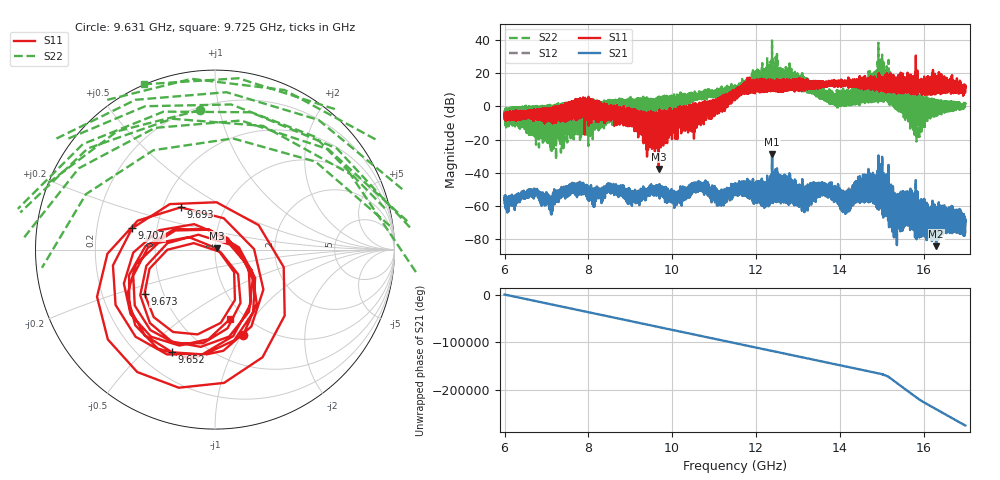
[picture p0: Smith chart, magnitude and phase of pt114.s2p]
#  HZ  S  RI  R  50.00
! Rohde & Schwarz Vector Network Analyzer
! Rohde-Schwarz,ZNA67-2Port,1332450062101215,3.01
! Created: UTC 10/19/2026, 3:13:38 PM
! freq[Hz]  re:S11  im:S11  re:S21  im:S21  re:S12  im:S12  re:S22  im:S22
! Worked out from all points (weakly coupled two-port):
!   11001 points, 6 GHz to 17 GHz, reference 50 ohm
!   highest |S21| = -28.83 dB at 12.38 GHz (marker M1); lowest = -84.0 dB at 16.3 GHz (marker M2)
!   lowest |S11| = -37.6 dB at 9.68 GHz (marker M3), VSWR 1.03, Z = 51.2 + j0.65 ohm
!   |S11| at or under -10 dB: 9.21199 GHz to 9.215513 GHz (3.523 MHz wide, 0.0382 % of centre); 9.316542 GHz to 9.320141 GHz (3.599 MHz wide, 0.0386 % of centre); 9.385837 GHz to 9.390033 GHz (4.196 MHz wide, 0.0447 % of centre) (the widest 3 of 147)
!   |S22| runs from -32.0 to 39.7 dB; largest |S21 - S12| = 0.0026
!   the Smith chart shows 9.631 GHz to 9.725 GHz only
!   S11 on the Smith chart (normalised r, x): 9.631 GHz: 0.80, -1.02; 9.652 GHz: 0.33, -0.61; 9.673 GHz: 0.39, -0.25; 9.693 GHz: 0.61, +0.32; 9.707 GHz: 0.36, +0.11; 9.725 GHz: 0.85, -0.78
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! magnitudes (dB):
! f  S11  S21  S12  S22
! 6 GHz  -4.6  -53.9  -53.9  -2.2
! 6.724 GHz  -5.9  -52.7  -52.8  -4.0
! 7.1 GHz  -6.4  -57.8  -57.3  -26.7
! 7.834 GHz  -5.2  -50.0  -49.8  -8.6
! 8.131 GHz  2.0  -56.1  -55.9  3.9
! 9.631 GHz  -6.0  -50.4  -50.3  -2.1
! 9.652 GHz  -4.2  -50.6  -50.8  0.8
! 9.667 GHz  -9.7  -50.6  -50.8  -3.7
! 9.673 GHz  -6.7  -49.4  -49.5  2.9
! 9.68 GHz  -37.6  -49.6  -49.6  1.8
! 9.693 GHz  -10.4  -50.1  -50.1  2.4
! 9.707 GHz  -6.4  -49.5  -49.5  5.3
! 9.725 GHz  -8.0  -52.7  -52.8  0.0
! 11.12 GHz  2.9  -50.9  -50.8  10.2
! 11.5 GHz  5.5  -50.4  -50.4  8.8
! 12.38 GHz  10.0  -28.8  -28.7  39.7
! 13.33 GHz  11.9  -52.8  -53.3  9.2
! 13.96 GHz  14.8  -49.9  -50.0  7.9
! 14.78 GHz  12.1  -56.4  -56.7  3.5
! 15.17 GHz  10.9  -62.8  -62.7  3.6
! 16.3 GHz  8.8  -84.0  -83.7  -4.9
! 17 GHz  11.4  -69.2  -69.5  1.4
